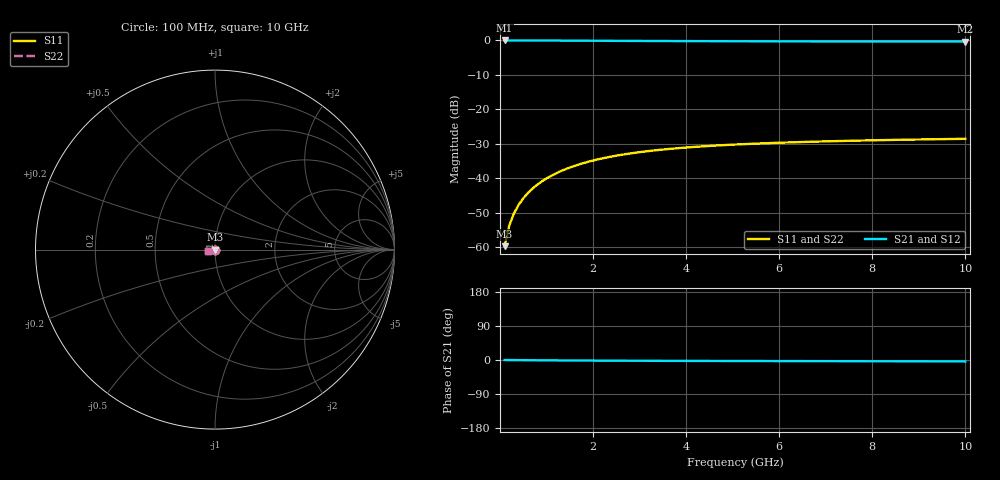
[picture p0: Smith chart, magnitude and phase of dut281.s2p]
! Touchstone file exported from HFSS 2024.1.0
!  File:  C:/UserFiles/LocalFiles/RDL_TSV_Batchsim/temp_TSV1_281_1779393369.aedt
!  Generated:  04:00:52 AM May 22, 2026
!  Design:  TSV1
!  Project:  temp_TSV1_281_1779393369
!  Setup:  Setup1
!  Solution:  Sweep
! Variables:
!  dtsv = 12.08um
!  hbump = 3um
!  htsv = 55.27um
!  lrdl = 252.1521522um
!  p = 40
!  p1 = 47.55um
!  t = 500um
!  trdl = 3um
!  wrdl = 24.89489489um
# GHz S MA R 50.000000
! Terminal data exported
! Port[1] = TSV22_T1
! Port[2] = TSV22_T2
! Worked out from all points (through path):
!   100 points, 100 MHz to 10 GHz, reference 50 ohm
!   highest |S21| = 0.00 dB at 100 MHz (marker M1); lowest = -0.3 dB at 10 GHz (marker M2)
!   lowest |S11| = -59.7 dB at 100 MHz (marker M3), VSWR 1.00, Z = 50 - j0.103 ohm
!   |S11| at or under -10 dB: start of sweep to end of sweep
!   |S22| runs from -59.7 to -28.6 dB; largest |S21 - S12| = 3.2e-15
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0.1  0.001031 -87.2  0.9999 -0.1  0.9999 -0.1  0.001031 -87.2
! Gamma 0 0 0 0
! Port Impedance 50 0 50 0
0.2  0.002056 -91.1  0.9998 -0.2  0.9998 -0.2  0.002056 -91.1
0.3  0.003076 -93.6  0.9996 -0.3  0.9996 -0.3  0.003076 -93.6
0.4  0.004091 -95.6  0.9994 -0.4  0.9994 -0.4  0.004091 -95.6
0.5  0.005096 -97.5  0.9991 -0.5  0.9991 -0.5  0.005096 -97.5
0.6  0.006091 -99.3  0.9988 -0.6  0.9988 -0.6  0.006091 -99.3
0.7  0.007073 -101.0  0.9984 -0.6  0.9984 -0.6  0.007073 -101.0
0.8  0.008041 -102.7  0.998 -0.7  0.998 -0.7  0.008041 -102.7
0.9  0.008992 -104.4  0.9975 -0.8  0.9975 -0.8  0.008992 -104.4
1.1  0.01084 -107.6  0.9964 -1.0  0.9964 -1.0  0.01084 -107.6
1.4  0.01345 -112.1  0.9946 -1.2  0.9946 -1.2  0.01345 -112.1
1.6  0.01508 -115.0  0.9933 -1.3  0.9933 -1.3  0.01508 -115.0
1.8  0.01662 -117.8  0.9919 -1.4  0.9919 -1.4  0.01662 -117.8
2.1  0.01874 -121.7  0.9898 -1.6  0.9898 -1.6  0.01874 -121.7
2.5  0.02124 -126.5  0.9871 -1.8  0.9871 -1.8  0.02124 -126.5
2.9  0.0234 -130.8  0.9845 -2.0  0.9845 -2.0  0.0234 -130.8
3.4  0.02568 -135.6  0.9815 -2.2  0.9815 -2.2  0.02568 -135.6
4.2  0.02854 -142.1  0.9773 -2.4  0.9773 -2.4  0.02854 -142.1
5.1  0.03092 -148.1  0.9734 -2.6  0.9734 -2.6  0.03092 -148.1
6.7  0.03385 -156.4  0.9685 -3.0  0.9685 -3.0  0.03385 -156.4
8.4  0.03592 -163.2  0.9649 -3.4  0.9649 -3.4  0.03592 -163.2
10  0.03733 -168.7  0.9626 -3.7  0.9626 -3.7  0.03733 -168.7
